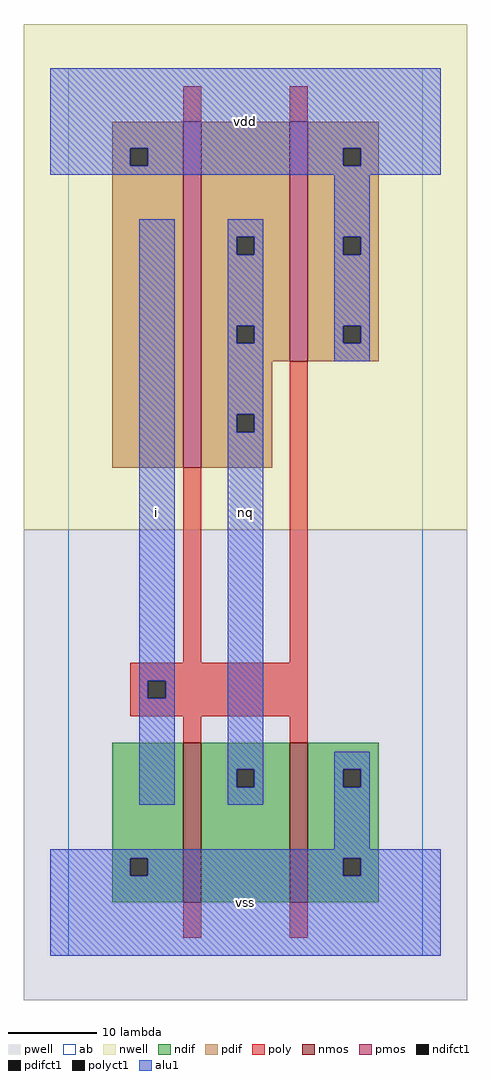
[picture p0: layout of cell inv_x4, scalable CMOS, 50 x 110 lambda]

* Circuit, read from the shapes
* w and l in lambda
.subckt inv_x4 i nq vdd vss
M1 nq i vss VSUBS nfet w=18 l=2 m=2
M2 nq i vdd n1 pfet w=39 l=2
M3 vdd i nq n1 pfet w=27 l=2
.ends

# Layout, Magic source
magic
tech scmos
<< ab >>
rect 0 0 40 100
<< nwell >>
rect -5 48 45 105
<< pwell >>
rect -5 -5 45 48
<< poly >>
rect 13 94 15 98
rect 25 94 27 98
rect 13 33 15 55
rect 25 33 27 67
rect 7 31 27 33
rect 7 29 9 31
rect 11 29 27 31
rect 7 27 27 29
rect 13 24 15 27
rect 25 24 27 27
rect 13 2 15 6
rect 25 2 27 6
<< ndif >>
rect 5 11 13 24
rect 5 9 7 11
rect 9 9 13 11
rect 5 6 13 9
rect 15 21 25 24
rect 15 19 19 21
rect 21 19 25 21
rect 15 6 25 19
rect 27 21 35 24
rect 27 19 31 21
rect 33 19 35 21
rect 27 11 35 19
rect 27 9 31 11
rect 33 9 35 11
rect 27 6 35 9
<< pdif >>
rect 5 91 13 94
rect 5 89 7 91
rect 9 89 13 91
rect 5 55 13 89
rect 15 81 25 94
rect 15 79 19 81
rect 21 79 25 81
rect 15 71 25 79
rect 15 69 19 71
rect 21 69 25 71
rect 15 67 25 69
rect 27 91 35 94
rect 27 89 31 91
rect 33 89 35 91
rect 27 81 35 89
rect 27 79 31 81
rect 33 79 35 81
rect 27 71 35 79
rect 27 69 31 71
rect 33 69 35 71
rect 27 67 35 69
rect 15 61 23 67
rect 15 59 19 61
rect 21 59 23 61
rect 15 55 23 59
<< alu1 >>
rect -2 91 42 100
rect -2 89 7 91
rect 9 89 31 91
rect 33 89 42 91
rect -2 88 42 89
rect 8 31 12 83
rect 8 29 9 31
rect 11 29 12 31
rect 8 17 12 29
rect 18 81 22 83
rect 18 79 19 81
rect 21 79 22 81
rect 18 71 22 79
rect 18 69 19 71
rect 21 69 22 71
rect 18 61 22 69
rect 30 81 34 88
rect 30 79 31 81
rect 33 79 34 81
rect 30 71 34 79
rect 30 69 31 71
rect 33 69 34 71
rect 30 67 34 69
rect 18 59 19 61
rect 21 59 22 61
rect 18 21 22 59
rect 18 19 19 21
rect 21 19 22 21
rect 18 17 22 19
rect 30 21 34 23
rect 30 19 31 21
rect 33 19 34 21
rect 30 12 34 19
rect -2 11 42 12
rect -2 9 7 11
rect 9 9 31 11
rect 33 9 42 11
rect -2 0 42 9
<< nmos >>
rect 13 6 15 24
rect 25 6 27 24
<< pmos >>
rect 13 55 15 94
rect 25 67 27 94
<< polyct1 >>
rect 9 29 11 31
<< ndifct1 >>
rect 7 9 9 11
rect 19 19 21 21
rect 31 19 33 21
rect 31 9 33 11
<< pdifct1 >>
rect 7 89 9 91
rect 19 79 21 81
rect 19 69 21 71
rect 31 89 33 91
rect 31 79 33 81
rect 31 69 33 71
rect 19 59 21 61
<< labels >>
rlabel alu1 20 6 20 6 6 vss
rlabel alu1 10 50 10 50 6 i
rlabel alu1 20 50 20 50 6 nq
rlabel alu1 20 94 20 94 6 vdd
<< end >>
